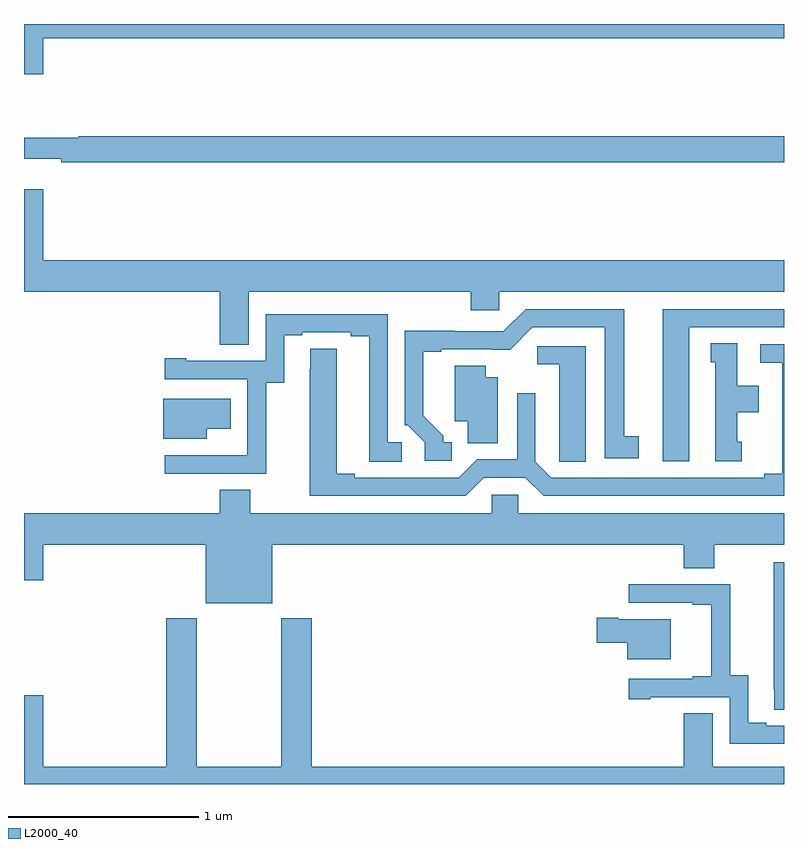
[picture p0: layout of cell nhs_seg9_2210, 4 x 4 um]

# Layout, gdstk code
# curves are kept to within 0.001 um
import gdstk
lib = gdstk.Library(unit=1e-6, precision=1e-09)
def P(c, l, *ps):  # polygons
    for p in ps: c.add(gdstk.Polygon(p, *l))
L2000_40 = (2000, 40)

nhs_seg9_2210 = lib.new_cell('nhs_seg9_2210')
P(nhs_seg9_2210, L2000_40, [(237.1,1192.424),(241,1192.424),(241,1192.5),(237,1192.5),(237,1192.236),(237.1,1192.236)],
  [(241,1191.908),(237.287,1191.908),(237.287,1191.901),(237,1191.901),(237,1191.791),(237.196,1191.791),(237.196,1191.772),(241,1191.772)],
  [(238.183,1191.092),(239.351,1191.092),(239.351,1190.994),(239.502,1190.994),(239.502,1191.092),(241,1191.092),(241,1191.256),(237.1,1191.256),(237.1,1191.631),(237,1191.631),(237,1191.092),(238.031,1191.092),(238.031,1190.812),(238.183,1190.812)],
  [(239.251,1190.298),(239.206,1190.298),(239.206,1190.333),(239.101,1190.438),(239.101,1190.775),(239.197,1190.775),(239.197,1190.787),(239.558,1190.786),(239.676,1190.904),(240.056,1190.904),(240.056,1190.214),(240.235,1190.214),(240.235,1190.33),(240.16,1190.33),(240.16,1191),(239.64,1191),(239.523,1190.883),(239.267,1190.883),(239.267,1190.885),(239.004,1190.885),(239.004,1190.388),(239.019,1190.388),(239.109,1190.298),(239.109,1190.202),(239.251,1190.202)],
  [(240.502,1190.904),(241,1190.904),(241,1191),(240.362,1191),(240.362,1190.199),(240.502,1190.199)],
  [(238.275,1190.611),(238.369,1190.611),(238.369,1190.862),(238.465,1190.862),(238.465,1190.877),(238.721,1190.877),(238.721,1190.857),(238.817,1190.857),(238.817,1190.197),(238.987,1190.197),(238.987,1190.298),(238.914,1190.298),(238.914,1190.973),(238.272,1190.973),(238.272,1190.727),(237.853,1190.727),(237.853,1190.74),(237.741,1190.74),(237.741,1190.631),(238.176,1190.631),(238.176,1190.23),(238.175,1190.23),(238.175,1190.229),(237.741,1190.229),(237.741,1190.133),(238.275,1190.133)],
  [(240.778,1190.301),(240.754,1190.301),(240.754,1190.456),(240.868,1190.456),(240.868,1190.596),(240.754,1190.596),(240.754,1190.819),(240.614,1190.819),(240.614,1190.721),(240.638,1190.721),(240.638,1190.199),(240.778,1190.199)],
  [(239.421,1190.112),(239.639,1190.112),(239.735,1190.016),(241,1190.016),(241,1190.814),(240.876,1190.814),(240.876,1190.718),(240.992,1190.718),(240.992,1190.132),(240.896,1190.132),(240.896,1190.112),(239.775,1190.112),(239.691,1190.196),(239.691,1190.557),(239.595,1190.557),(239.595,1190.208),(239.385,1190.208),(239.289,1190.112),(238.741,1190.112),(238.741,1190.132),(238.645,1190.132),(238.645,1190.792),(238.506,1190.792),(238.505,1190.016),(239.325,1190.016)],
  [(239.956,1190.805),(239.7,1190.805),(239.7,1190.708),(239.816,1190.708),(239.816,1190.305),(239.817,1190.305),(239.817,1190.197),(239.956,1190.197)],
  [(239.494,1190.641),(239.431,1190.641),(239.431,1190.702),(239.267,1190.702),(239.267,1190.408),(239.336,1190.408),(239.336,1190.293),(239.494,1190.293)],
  [(237.961,1190.369),(238.087,1190.369),(238.087,1190.527),(237.734,1190.527),(237.734,1190.318),(237.961,1190.318)],
  [(238.306,1189.76),(240.473,1189.76),(240.473,1189.636),(240.633,1189.636),(240.633,1189.76),(241,1189.76),(241,1189.924),(239.601,1189.924),(239.601,1190.022),(239.463,1190.022),(239.463,1189.924),(238.191,1189.924),(238.191,1190.048),(238.031,1190.048),(238.031,1189.924),(237,1189.924),(237,1189.572),(237.1,1189.572),(237.1,1189.76),(237.956,1189.76),(237.956,1189.451),(238.306,1189.451)],
  [(241,1189.668),(240.947,1189.668),(240.947,1189),(240.948,1189),(240.948,1188.892),(241,1188.892)],
  [(241,1188.807),(240.907,1188.807),(240.907,1188.822),(240.811,1188.822),(240.811,1189.073),(240.717,1189.073),(240.717,1189.551),(240.183,1189.551),(240.183,1189.455),(240.521,1189.455),(240.521,1189.443),(240.617,1189.443),(240.617,1189.066),(240.521,1189.066),(240.521,1189.053),(240.183,1189.053),(240.183,1188.945),(240.295,1188.945),(240.295,1188.957),(240.714,1188.957),(240.714,1188.711),(241,1188.711)],
  [(240.403,1189.366),(240.127,1189.366),(240.127,1189.374),(240.015,1189.374),(240.015,1189.244),(240.176,1189.244),(240.176,1189.157),(240.403,1189.157)],
  [(241,1188.592),(240.625,1188.592),(240.625,1188.872),(240.473,1188.872),(240.473,1188.592),(238.514,1188.592),(238.514,1189.372),(238.354,1189.372),(238.354,1188.592),(237.909,1188.592),(237.909,1189.372),(237.749,1189.372),(237.749,1188.592),(237.1,1188.592),(237.1,1188.967),(237,1188.967),(237,1188.5),(241,1188.5)])

lib.write_gds('nhs_seg9_2210.gds')
